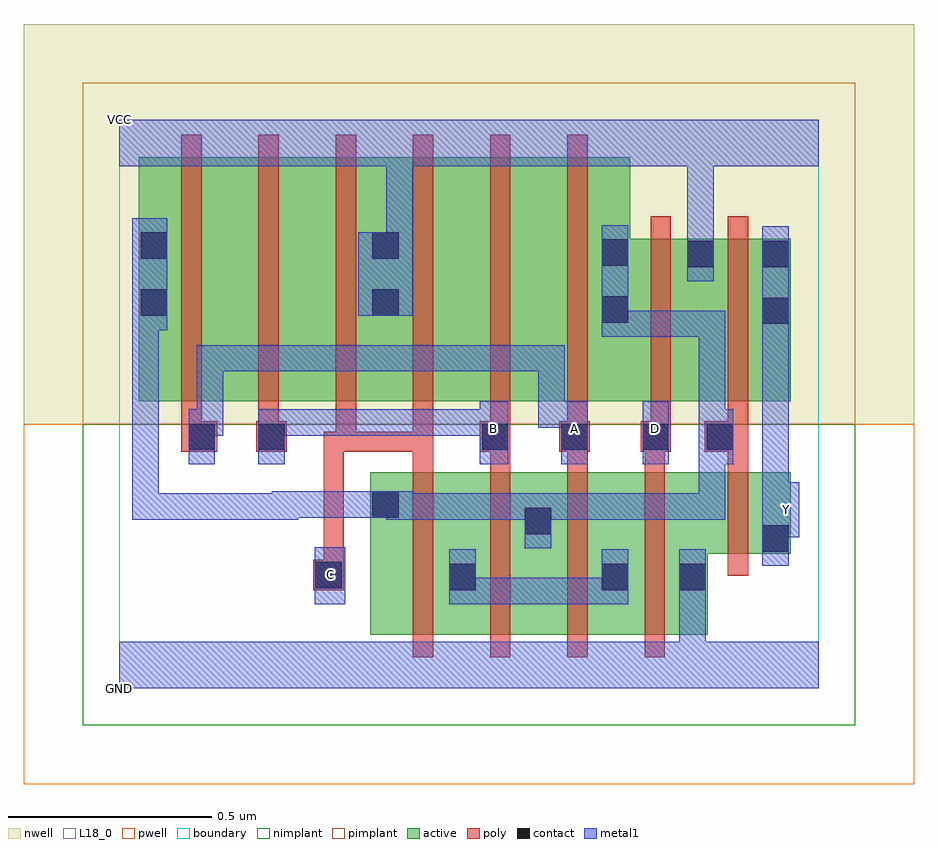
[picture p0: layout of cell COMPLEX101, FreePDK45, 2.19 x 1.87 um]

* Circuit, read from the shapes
.subckt COMPLEX101 A B C D GND VCC Y
M1 n1 C n2 VSUBS nfet w=0.4u l=0.05u
M2 n2 B n1 VSUBS nfet w=0.4u l=0.05u
M3 n1 A n2 VSUBS nfet w=0.4u l=0.05u
M4 GND D n1 VSUBS nfet w=0.4u l=0.05u
M5 Y n2 GND VSUBS nfet w=0.2u l=0.05u
M6 n3 A n2 n4 pfet w=0.6u l=0.05u
M7 n5 B n3 n4 pfet w=0.6u l=0.05u
M8 VCC C n5 n4 pfet w=0.6u l=0.05u
M9 n6 C VCC n4 pfet w=0.6u l=0.05u
M10 n7 B n6 n4 pfet w=0.6u l=0.05u
M11 n2 A n7 n4 pfet w=0.6u l=0.05u
M12 VCC D n2 n4 pfet w=0.4u l=0.05u
M13 Y n2 VCC n4 pfet w=0.4u l=0.05u
.ends

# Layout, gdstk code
import gdstk
lib = gdstk.Library(unit=1e-6, precision=1e-09)
def R(c, l, rs):  # rectangles x0, y0, x1, y1
    for r in rs: c.add(gdstk.rectangle(r[:2], r[2:], *l))
def A(c, l, x, y, w, h, nx, ny, dx, dy):  # array of equal rectangles
    R(c, l, [(x+i*dx, y+j*dy, x+i*dx+w, y+j*dy+h) for i in range(nx) for j in range(ny)])
active = (1, 0)
pwell = (2, 0)
nwell = (3, 0)
nimplant = (4, 0)
pimplant = (5, 0)
poly = (9, 0)
contact = (10, 0)
metal1 = (11, 0)
L18_0 = (18, 0)
boundary = (235, 0)

complex101 = lib.new_cell('COMPLEX101')
R(complex101, active, [(0.617,0.132,0.882,0.532), (0.807,0.132,1.067,0.532), (0.992,0.132,1.257,0.532), (1.182,0.132,1.447,0.532), (1.372,0.132,1.447,0.332), (0.617,0.195,0.692,0.532), (0.807,0.195,0.882,0.492), (0.992,0.195,1.067,0.492), (1.182,0.195,1.257,0.492), (1.372,0.332,1.652,0.532), (1.577,0.332,1.652,0.532), (0.047,0.707,0.272,1.307), (0.047,0.707,0.152,1.2), (0.272,0.707,0.462,1.307), (0.462,0.707,0.692,1.307), (0.617,0.707,0.842,1.307), (0.617,0.707,0.692,1.305), (0.842,0.707,1.032,1.307), (1.032,0.707,1.257,1.307), (1.182,0.707,1.467,1.107), (1.182,0.707,1.257,1.2), (1.392,0.707,1.652,1.107), (1.577,0.707,1.652,1.107), (1.392,0.802,1.467,1.107)])
R(complex101, pwell, [(-0.235,-0.235,1.955,0.65)])
R(complex101, nwell, [(-0.235,0.65,1.955,1.635)])
R(complex101, nimplant, [(-0.09,-0.09,1.81,0.65)])
R(complex101, pimplant, [(-0.09,0.65,1.81,1.49)])
A(complex101, poly, 0.722, 0.077, 0.05, 0.51, 4, 1, 0.19, 0)
A(complex101, poly, 0.722, 0.537, 0.05, 0.095, 4, 1, 0.19, 0)
A(complex101, poly, 0.152, 0.652, 0.05, 0.71, 6, 1, 0.19, 0)
R(complex101, poly, [(0.477,0.242,0.552,0.317), (0.502,0.267,0.552,0.317), (0.502,0.267,0.552,0.317), (0.502,0.267,0.552,0.632), (1.497,0.277,1.547,0.587), (1.497,0.537,1.547,0.632), (0.152,0.582,0.24,0.657), (0.337,0.582,0.412,0.657), (0.502,0.582,0.582,0.632), (0.532,0.582,0.582,0.702), (0.532,0.582,0.772,0.632), (0.722,0.582,0.772,0.702), (0.722,0.582,0.772,0.632), (0.722,0.582,0.772,0.632), (0.722,0.582,0.772,0.632), (0.887,0.582,0.962,0.657), (1.082,0.582,1.157,0.657), (1.282,0.582,1.357,0.657), (1.44,0.582,1.547,0.657), (0.152,0.607,0.202,0.702), (0.342,0.607,0.392,0.702), (0.912,0.607,0.962,0.702), (1.102,0.607,1.152,0.702), (1.307,0.607,1.357,0.702), (1.497,0.607,1.547,0.702), (1.307,0.652,1.357,1.162), (1.497,0.652,1.547,1.162)])
R(complex101, contact, [(0.812,0.242,0.877,0.307), (1.187,0.242,1.252,0.307), (1.377,0.242,1.442,0.307), (0.482,0.247,0.547,0.312), (1.582,0.337,1.647,0.402), (0.997,0.38,1.062,0.445), (0.622,0.42,0.687,0.485), (0.17,0.587,0.235,0.652), (0.342,0.587,0.407,0.652), (0.892,0.587,0.957,0.652), (1.087,0.587,1.152,0.652), (1.287,0.587,1.352,0.652), (1.445,0.587,1.51,0.652), (1.582,0.897,1.647,0.962), (1.187,0.9,1.252,0.965), (0.052,0.917,0.117,0.982), (0.622,0.917,0.687,0.982), (1.397,1.037,1.462,1.102), (1.582,1.037,1.647,1.102), (1.187,1.04,1.252,1.105), (0.052,1.057,0.117,1.122), (0.622,1.057,0.687,1.122)])
R(complex101, metal1, [(0,0,1.72,0.115), (1.377,0.05,1.442,0.272), (0.48,0.207,0.555,0.347), (0.812,0.207,0.877,0.272), (0.812,0.207,0.877,0.272), (0.812,0.207,0.877,0.342), (0.812,0.207,1.115,0.272), (1.05,0.207,1.115,0.272), (1.05,0.207,1.115,0.272), (1.05,0.207,1.115,0.272), (1.05,0.207,1.252,0.272), (1.187,0.207,1.252,0.342), (1.377,0.207,1.442,0.272), (1.377,0.207,1.442,0.272), (1.377,0.207,1.442,0.342), (1.582,0.302,1.647,0.437), (0.997,0.345,1.062,0.48), (1.582,0.372,1.647,0.437), (1.582,0.372,1.672,0.507), (0.032,0.415,0.097,0.48), (0.032,0.415,0.097,0.48), (0.032,0.415,0.097,0.48), (0.032,0.415,0.097,0.48), (0.032,0.415,0.097,0.48), (0.032,0.415,0.26,0.48), (0.032,0.415,0.097,0.947), (0.195,0.415,0.26,0.48), (0.195,0.415,0.407,0.48), (0.342,0.415,0.407,0.48), (0.342,0.415,0.44,0.48), (0.375,0.415,0.44,0.485), (0.657,0.415,0.86,0.48), (0.657,0.415,0.722,0.485), (0.795,0.415,0.86,0.48), (0.795,0.415,0.977,0.48), (0.912,0.415,0.977,0.48), (0.912,0.415,1.062,0.48), (0.997,0.415,1.115,0.48), (1.05,0.415,1.115,0.48), (1.05,0.415,1.252,0.48), (1.187,0.415,1.252,0.48), (1.187,0.415,1.252,0.48), (1.187,0.415,1.252,0.48), (1.187,0.415,1.49,0.48), (1.425,0.415,1.49,0.48), (1.425,0.415,1.49,0.617), (0.375,0.42,0.585,0.485), (0.52,0.42,0.585,0.485), (0.52,0.42,0.652,0.485), (0.587,0.42,0.722,0.485), (0.657,0.42,0.722,0.485), (1.582,0.442,1.647,0.927), (0.17,0.552,0.235,0.687), (0.342,0.552,0.407,0.687), (0.887,0.552,0.957,0.707), (1.087,0.552,1.152,0.707), (1.287,0.552,1.352,0.707), (1.425,0.552,1.49,0.617), (1.425,0.552,1.51,0.617), (1.425,0.552,1.49,0.93), (1.445,0.552,1.51,0.687), (0.17,0.622,0.255,0.687), (0.19,0.622,0.255,0.687), (0.19,0.622,0.255,0.845), (0.342,0.622,0.407,0.687), (0.342,0.622,0.407,0.687), (0.342,0.622,0.545,0.687), (0.48,0.622,0.545,0.687), (0.48,0.622,0.722,0.687), (0.657,0.622,0.722,0.687), (0.657,0.622,0.722,0.687), (0.657,0.622,0.722,0.687), (0.657,0.622,0.86,0.687), (0.795,0.622,0.86,0.687), (0.795,0.622,0.952,0.687), (1.03,0.642,1.095,0.707), (1.03,0.642,1.152,0.707), (1.03,0.642,1.095,0.845), (0.19,0.78,0.255,0.845), (0.19,0.78,0.397,0.845), (0.332,0.78,0.397,0.845), (0.332,0.78,0.397,0.845), (0.332,0.78,0.397,0.845), (0.332,0.78,0.545,0.845), (0.48,0.78,0.545,0.845), (0.48,0.78,0.722,0.845), (0.657,0.78,0.722,0.845), (0.657,0.78,0.722,0.845), (0.657,0.78,0.722,0.845), (0.657,0.78,0.925,0.845), (0.86,0.78,0.925,0.845), (0.86,0.78,0.925,0.845), (0.86,0.78,0.925,0.845), (0.86,0.78,1.095,0.845), (1.03,0.78,1.095,0.845), (1.582,0.862,1.647,1.137), (1.187,0.865,1.252,1.14), (1.187,0.865,1.252,0.93), (1.187,0.865,1.252,0.93), (1.187,0.865,1.49,0.93), (1.425,0.865,1.49,0.93), (0.032,0.882,0.117,1.157), (0.587,0.917,0.722,1.122), (1.397,1.002,1.462,1.137), (0.657,1.057,0.722,1.35), (1.397,1.072,1.462,1.35), (0,1.285,1.72,1.4), (1.397,1.285,1.462,1.35), (1.397,1.285,1.462,1.35)])
A(complex101, L18_0, 0.887, 0.607, 0.065, 0.065, 3, 1, 0.2, 0)
R(complex101, L18_0, [(0,0,1.72,0.115), (1.377,0.05,1.442,0.272), (0.48,0.207,0.555,0.347), (1.377,0.207,1.442,0.342), (1.377,0.207,1.442,0.272), (1.377,0.207,1.442,0.272), (0.487,0.247,0.552,0.312), (1.582,0.302,1.647,0.437), (1.582,0.372,1.647,0.437), (1.582,0.372,1.672,0.507), (1.607,0.407,1.672,0.472), (1.582,0.442,1.647,0.927), (0.17,0.552,0.235,0.687), (0.342,0.552,0.407,0.687), (0.887,0.552,0.957,0.707), (1.087,0.552,1.152,0.707), (1.287,0.552,1.352,0.707), (0.17,0.622,0.255,0.687), (0.19,0.622,0.255,0.687), (0.19,0.622,0.255,0.845), (0.342,0.622,0.407,0.687), (0.342,0.622,0.407,0.687), (0.342,0.622,0.545,0.687), (0.48,0.622,0.545,0.687), (0.48,0.622,0.722,0.687), (0.657,0.622,0.722,0.687), (0.657,0.622,0.722,0.687), (0.657,0.622,0.722,0.687), (0.657,0.622,0.86,0.687), (0.795,0.622,0.86,0.687), (0.795,0.622,0.952,0.687), (1.03,0.642,1.095,0.707), (1.03,0.642,1.095,0.845), (1.03,0.642,1.152,0.707), (0.19,0.78,0.255,0.845), (0.19,0.78,0.397,0.845), (0.332,0.78,0.397,0.845), (0.332,0.78,0.397,0.845), (0.332,0.78,0.397,0.845), (0.332,0.78,0.545,0.845), (0.48,0.78,0.545,0.845), (0.48,0.78,0.722,0.845), (0.657,0.78,0.722,0.845), (0.657,0.78,0.722,0.845), (0.657,0.78,0.722,0.845), (0.657,0.78,0.925,0.845), (0.86,0.78,0.925,0.845), (0.86,0.78,0.925,0.845), (0.86,0.78,0.925,0.845), (0.86,0.78,1.095,0.845), (1.03,0.78,1.095,0.845), (1.582,0.862,1.647,1.137), (0.587,0.917,0.722,1.122), (1.397,1.002,1.462,1.137), (0.657,1.057,0.722,1.35), (1.397,1.072,1.462,1.35), (0,1.285,1.72,1.4), (1.397,1.285,1.462,1.35), (1.397,1.285,1.462,1.35)])
R(complex101, boundary, [(0,0,1.72,1.4)])
complex101.add(gdstk.Label('A', (1.12,0.64), layer=11, texttype=0))
complex101.add(gdstk.Label('B', (0.92,0.64), layer=11, texttype=0))
complex101.add(gdstk.Label('C', (0.52,0.28), layer=11, texttype=0))
complex101.add(gdstk.Label('D', (1.32,0.64), layer=11, texttype=0))
complex101.add(gdstk.Label('Y', (1.64,0.44), layer=11, texttype=0))
complex101.add(gdstk.Label('VCC', (0,1.4), layer=11, texttype=0))
complex101.add(gdstk.Label('GND', (0,0), layer=11, texttype=0))

lib.write_gds('COMPLEX101.gds')
